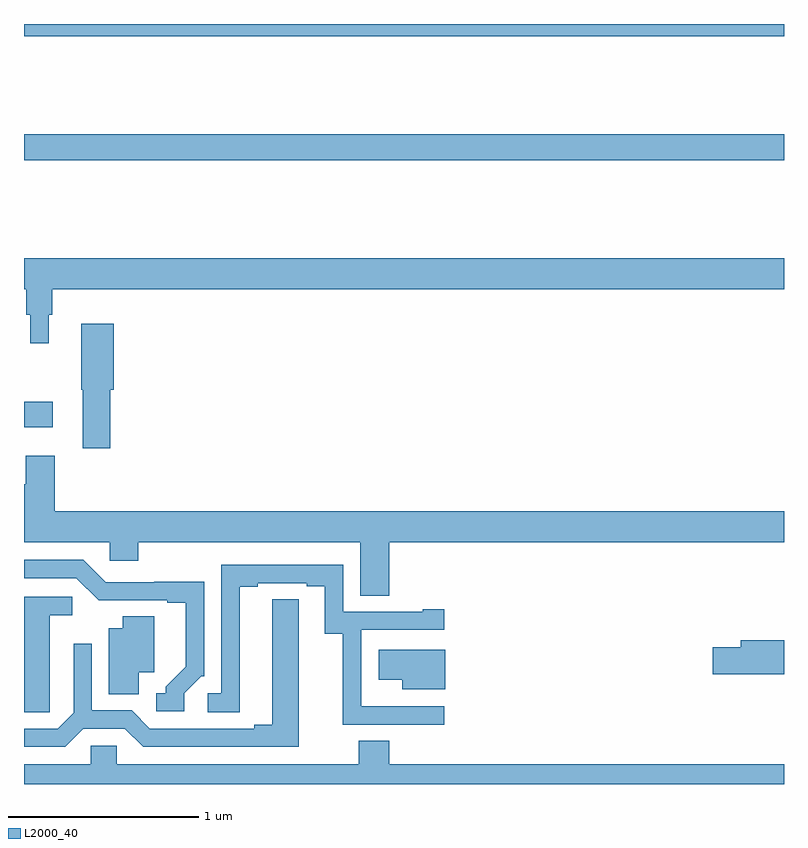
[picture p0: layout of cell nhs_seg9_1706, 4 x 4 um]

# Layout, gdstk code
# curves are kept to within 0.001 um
import gdstk
lib = gdstk.Library(unit=1e-6, precision=1e-09)
def R(c, l, rs):  # rectangles x0, y0, x1, y1
    for r in rs: c.add(gdstk.rectangle(r[:2], r[2:], *l))
def P(c, l, *ps):  # polygons
    for p in ps: c.add(gdstk.Polygon(p, *l))
L2000_40 = (2000, 40)

nhs_seg9_1706 = lib.new_cell('nhs_seg9_1706')
R(nhs_seg9_1706, L2000_40, [(207,1178.378,207.151,1178.513), (207,1179.784,211,1179.92), (207,1180.436,211,1180.5)])
P(nhs_seg9_1706, L2000_40, [(207.13,1178.97),(207.149,1178.97),(207.149,1179.104),(211,1179.104),(211,1179.268),(207,1179.268),(207,1179.104),(207.013,1179.104),(207.013,1178.97),(207.032,1178.97),(207.032,1178.82),(207.13,1178.82)],
  [(207.455,1178.574),(207.473,1178.574),(207.473,1178.923),(207.302,1178.923),(207.302,1178.574),(207.308,1178.574),(207.308,1178.268),(207.455,1178.268)],
  [(208.922,1177.772),(211,1177.772),(211,1177.936),(207.161,1177.936),(207.161,1178.227),(207.008,1178.227),(207.008,1178.078),(207,1178.078),(207,1177.772),(207.45,1177.772),(207.45,1177.674),(207.602,1177.674),(207.602,1177.772),(208.769,1177.772),(208.769,1177.492),(208.922,1177.492)],
  [(207.843,1176.978),(207.933,1177.068),(207.948,1177.068),(207.948,1177.565),(207.685,1177.565),(207.685,1177.563),(207.429,1177.563),(207.312,1177.68),(207,1177.68),(207,1177.584),(207.276,1177.584),(207.394,1177.466),(207.755,1177.467),(207.755,1177.455),(207.851,1177.455),(207.851,1177.118),(207.746,1177.013),(207.746,1176.978),(207.696,1176.978),(207.696,1176.882),(207.843,1176.882)],
  [(209.212,1176.909),(208.778,1176.909),(208.778,1176.91),(208.776,1176.91),(208.776,1177.311),(209.212,1177.311),(209.212,1177.42),(209.099,1177.42),(209.099,1177.407),(208.68,1177.407),(208.68,1177.653),(208.038,1177.653),(208.038,1176.978),(207.966,1176.978),(207.966,1176.877),(208.135,1176.877),(208.135,1177.537),(208.231,1177.537),(208.231,1177.557),(208.487,1177.557),(208.487,1177.542),(208.583,1177.542),(208.583,1177.291),(208.678,1177.291),(208.678,1176.813),(209.212,1176.813)],
  [(207.135,1176.985),(207.136,1176.985),(207.136,1177.388),(207.253,1177.388),(207.253,1177.485),(207,1177.485),(207,1176.877),(207.135,1176.877)],
  [(207.313,1176.792),(207.531,1176.792),(207.627,1176.696),(208.447,1176.696),(208.446,1177.472),(208.307,1177.472),(208.307,1176.812),(208.211,1176.812),(208.211,1176.792),(207.663,1176.792),(207.567,1176.888),(207.357,1176.888),(207.357,1177.237),(207.261,1177.237),(207.261,1176.876),(207.177,1176.792),(207,1176.792),(207,1176.696),(207.217,1176.696)],
  [(207.604,1177.088),(207.685,1177.088),(207.685,1177.382),(207.521,1177.382),(207.521,1177.321),(207.446,1177.321),(207.446,1176.973),(207.604,1176.973)],
  [(211,1177.256),(210.773,1177.256),(210.773,1177.22),(210.624,1177.22),(210.624,1177.078),(211,1177.078)],
  [(209.218,1177.207),(208.866,1177.207),(208.866,1177.049),(208.991,1177.049),(208.991,1176.998),(209.218,1176.998)],
  [(211,1176.604),(208.922,1176.604),(208.922,1176.728),(208.762,1176.728),(208.762,1176.604),(207.489,1176.604),(207.489,1176.702),(207.351,1176.702),(207.351,1176.604),(207,1176.604),(207,1176.5),(211,1176.5)])

lib.write_gds('nhs_seg9_1706.gds')
